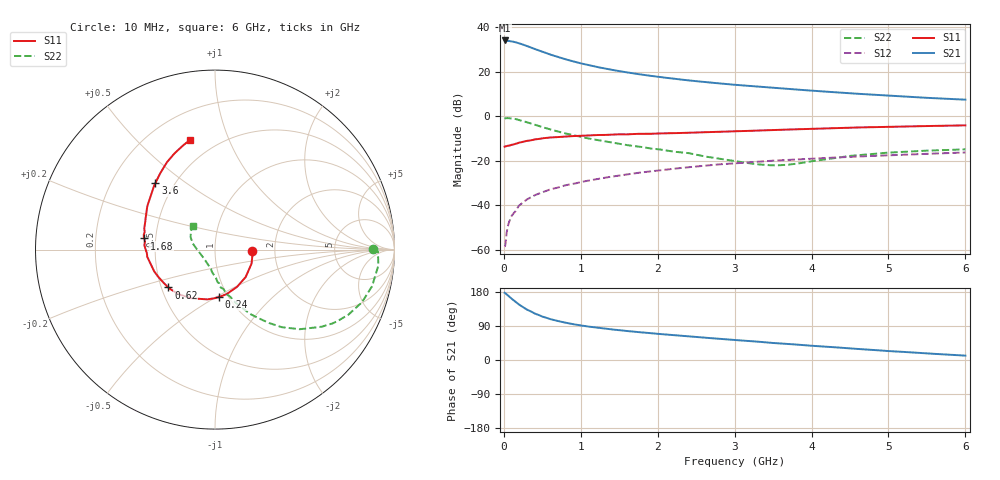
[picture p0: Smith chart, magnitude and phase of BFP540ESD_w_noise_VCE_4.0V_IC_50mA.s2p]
! Infineon Technologies  Discrete & RF Semiconductors
! BFP540ESD
! VCE =  4.0 V,  IC =  50 mA
! Common Emitter S-Parameters:  Nov 2015
# GHz  S  MA  R  50
!  f  S11  S21  S12  S22
! GHz  MAG  ANG  MAG  ANG  MAG  ANG  MAG  ANG
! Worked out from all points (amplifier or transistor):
!   210 points, 10 MHz to 6 GHz, reference 50 ohm
!   highest |S21| = 34.1 dB at 10 MHz (marker M1)
!   |S21| within 3 dB of that: start of sweep to 337.8 MHz
!   unconditionally stable (mu >= 1): start of sweep to 27.14 MHz; 1.541 GHz to end of sweep
!   at 185 MHz: K = 0.39, MSG = 36.9 dB, |S12| = -40.8 dB
!   at 1.52 GHz: K = 1.00, MSG = 23.4 dB, |S12| = -26.5 dB
!   at 6 GHz: K = 1.10, MAG = 10.0 dB, |S12| = -16.3 dB
!   lowest NFmin = 1.82 dB at 900 MHz
!   S11 on the Smith chart (normalised r, x): 10 MHz: 1.52, -0.03; 240 MHz: 0.91, -0.52; 620 MHz: 0.54, -0.26; 1.68 GHz: 0.43, +0.06; 3.6 GHz: 0.39, +0.39; 6 GHz: 0.36, +0.73
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0.01  0.2082 -2.7  50.83 177.5  0.0012 99.5  0.8796 0.1
0.02  0.211 -9.0  50.01 176.2  0.0013 78.3  0.9082 -0.7
0.05  0.2182 -21.1  50.04 170.8  0.0033 72.4  0.9143 -5.6
0.1  0.2293 -41.9  48.74 162.0  0.0057 75.8  0.8988 -13.1
0.15  0.2411 -59.4  46.57 153.7  0.0073 76.1  0.87 -19.7
0.2  0.256 -75.0  43.89 146.0  0.0099 73.7  0.8276 -25.9
0.24  0.2651 -84.9  41.53 140.6  0.0112 72.0  0.7918 -30.1
0.3  0.2807 -98.6  38.16 133.0  0.0135 69.5  0.7352 -35.7
0.4  0.3015 -116.0  32.75 122.8  0.0167 68.3  0.648 -43.2
0.5  0.3208 -129.3  28.35 114.6  0.0195 66.9  0.5713 -49.2
0.62  0.3348 -140.9  23.98 107.2  0.0231 66.8  0.4977 -54.3
0.7  0.3412 -147.3  21.66 102.9  0.0249 66.2  0.4564 -57.3
0.8  0.3514 -154.8  19.17 98.4  0.0281 66.4  0.4121 -61.0
1.02  0.3654 -166.3  15.26 90.6  0.0337 65.7  0.3391 -66.5
1.3  0.3801 -177.0  12 83.2  0.0413 64.2  0.2755 -72.1
1.68  0.3998 171.1  9.266 74.9  0.0518 62.4  0.2163 -80.6
2.02  0.412 162.8  7.674 68.7  0.0611 59.7  0.1806 -85.6
3.1  0.4654 140.5  4.963 51.4  0.09 50.7  0.0925 -114.4
3.6  0.4982 131.8  4.245 43.6  0.1026 45.7  0.0796 -149.9
4.1  0.5295 124.2  3.675 36.3  0.1136 41.0  0.1028 177.5
5.1  0.5859 111.7  2.857 22.5  0.1349 31.4  0.1556 150.8
6  0.6257 103.0  2.368 11.5  0.1536 24.2  0.1811 132.5
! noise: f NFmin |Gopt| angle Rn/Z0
0.9  1.82  0.49  -140  0.15
1.8  1.97  0.51  -142  0.15
2.4  2.02  0.52  -132  0.19
3  2.14  0.54  -123  0.26
4  2.19  0.61  -102  0.45
5  2.28  0.69  -86  0.67
6  2.72  0.63  -83  1.04
